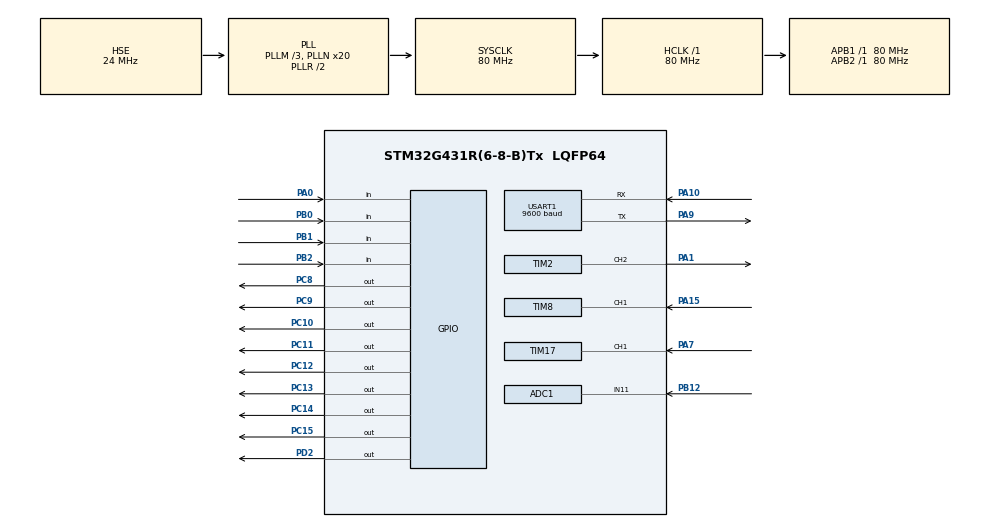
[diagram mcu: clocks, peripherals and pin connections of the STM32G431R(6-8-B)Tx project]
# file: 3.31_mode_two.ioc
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ADC1.Channel-0\#ChannelRegularConversion=ADC_CHANNEL_11
ADC1.NbrOfConversionFlag=1
ADC1.OffsetNumber-0\#ChannelRegularConversion=ADC_OFFSET_NONE
ADC1.Rank-0\#ChannelRegularConversion=1
ADC1.SamplingTime-0\#ChannelRegularConversion=ADC_SAMPLETIME_2CYCLES_5
ADC1.master=1
Mcu.Family=STM32G4
Mcu.Name=STM32G431R(6-8-B)Tx
Mcu.Package=LQFP64
NVIC.PriorityGroup=NVIC_PRIORITYGROUP_4
NVIC.TIM1_TRG_COM_TIM17_IRQn=true\:0\:0\:false\:false\:true\:true\:true\:true
NVIC.TIM1_UP_TIM16_IRQn=true\:0\:0\:false\:false\:true\:true\:true\:true
NVIC.TIM8_CC_IRQn=true\:0\:0\:false\:false\:true\:true\:true\:true
NVIC.USART1_IRQn=true\:0\:0\:false\:false\:true\:true\:true\:true
PA0.GPIO_Mode=GPIO_MODE_INPUT
PA0.GPIO_PuPd=GPIO_NOPULL
PA0.Signal=GPIO_Input
PA1.Signal=S_TIM2_CH2
PA10.Mode=Asynchronous
PA10.Signal=USART1_RX
PA13.Mode=Serial_Wire
PA13.Signal=SYS_JTMS-SWDIO
PA14.Mode=Serial_Wire
PA14.Signal=SYS_JTCK-SWCLK
PA15.Signal=S_TIM8_CH1
PA7.Signal=S_TIM17_CH1
PA9.Mode=Asynchronous
PA9.Signal=USART1_TX
PB0.GPIO_Mode=GPIO_MODE_INPUT
PB0.GPIO_PuPd=GPIO_NOPULL
PB0.Signal=GPIO_Input
PB1.GPIO_Mode=GPIO_MODE_INPUT
PB1.GPIO_PuPd=GPIO_NOPULL
PB1.Signal=GPIO_Input
PB12.Mode=IN11-Single-Ended
PB12.Signal=ADC1_IN11
PB2.GPIO_Mode=GPIO_MODE_INPUT
PB2.GPIO_PuPd=GPIO_NOPULL
PB2.Signal=GPIO_Input
PC10.GPIO_ModeDefaultOutputPP=GPIO_MODE_OUTPUT_PP
PC10.GPIO_PuPd=GPIO_NOPULL
PC10.PinState=GPIO_PIN_SET
PC10.Signal=GPIO_Output
PC11.GPIO_ModeDefaultOutputPP=GPIO_MODE_OUTPUT_PP
PC11.GPIO_PuPd=GPIO_NOPULL
PC11.PinState=GPIO_PIN_SET
PC11.Signal=GPIO_Output
PC12.GPIO_ModeDefaultOutputPP=GPIO_MODE_OUTPUT_PP
PC12.GPIO_PuPd=GPIO_NOPULL
PC12.PinState=GPIO_PIN_SET
PC12.Signal=GPIO_Output
PC13.GPIO_ModeDefaultOutputPP=GPIO_MODE_OUTPUT_PP
PC13.GPIO_PuPd=GPIO_NOPULL
PC13.PinState=GPIO_PIN_SET
PC13.Signal=GPIO_Output
PC14-OSC32_IN.GPIO_ModeDefaultOutputPP=GPIO_MODE_OUTPUT_PP
PC14-OSC32_IN.GPIO_PuPd=GPIO_NOPULL
PC14-OSC32_IN.PinState=GPIO_PIN_SET
PC14-OSC32_IN.Signal=GPIO_Output
PC15-OSC32_OUT.GPIO_ModeDefaultOutputPP=GPIO_MODE_OUTPUT_PP
PC15-OSC32_OUT.GPIO_PuPd=GPIO_NOPULL
PC15-OSC32_OUT.PinState=GPIO_PIN_SET
PC15-OSC32_OUT.Signal=GPIO_Output
PC8.GPIO_ModeDefaultOutputPP=GPIO_MODE_OUTPUT_PP
PC8.GPIO_PuPd=GPIO_NOPULL
PC8.PinState=GPIO_PIN_SET
PC8.Signal=GPIO_Output
PC9.GPIO_ModeDefaultOutputPP=GPIO_MODE_OUTPUT_PP
PC9.GPIO_PuPd=GPIO_NOPULL
PC9.PinState=GPIO_PIN_SET
PC9.Signal=GPIO_Output
PD2.GPIO_ModeDefaultOutputPP=GPIO_MODE_OUTPUT_PP
PD2.GPIO_PuPd=GPIO_NOPULL
PD2.PinState=GPIO_PIN_SET
PD2.Signal=GPIO_Output
PF0-OSC_IN.Mode=HSE-External-Oscillator
PF0-OSC_IN.Signal=RCC_OSC_IN
PF1-OSC_OUT.Mode=HSE-External-Oscillator
PF1-OSC_OUT.Signal=RCC_OSC_OUT
ProjectManager.HeapSize=0x200
ProjectManager.StackSize=0x400
ProjectManager.TargetToolchain=MDK-ARM V5.32
RCC.ADC12Freq_Value=80000000
RCC.AHBFreq_Value=80000000
RCC.APB1Freq_Value=80000000
RCC.APB1TimFreq_Value=80000000
RCC.APB2Freq_Value=80000000
RCC.APB2TimFreq_Value=80000000
RCC.CortexFreq_Value=80000000
RCC.EXTERNAL_CLOCK_VALUE=12288000
RCC.HCLKFreq_Value=80000000
RCC.HSE_VALUE=24000000
RCC.HSI48_VALUE=48000000
RCC.HSI_VALUE=16000000
RCC.LSE_VALUE=32768
RCC.PLLM=RCC_PLLM_DIV3
RCC.PLLN=20
RCC.PLLSourceVirtual=RCC_PLLSOURCE_HSE
RCC.SYSCLKFreq_VALUE=80000000
RCC.SYSCLKSource=RCC_SYSCLKSOURCE_PLLCLK
RCC.USBFreq_Value=80000000
RCC.VCOOutputFreq_Value=160000000
SH.S_TIM17_CH1.0=TIM17_CH1,Input_Capture1_from_TI1
SH.S_TIM2_CH2.0=TIM2_CH2,PWM Generation2 CH2
SH.S_TIM8_CH1.0=TIM8_CH1,Input_Capture1_from_TI1
TIM1.PeriodNoDither=1000-1
TIM1.Prescaler=80-1
TIM17.Channel=TIM_CHANNEL_1
TIM17.Prescaler=80-1
TIM2.Channel-PWM\ Generation2\ CH2=TIM_CHANNEL_2
TIM2.PeriodNoDither=100-1
TIM2.Prescaler=800-1
TIM4.Prescaler=8000-1
TIM8.Channel-Input_Capture1_from_TI1=TIM_CHANNEL_1
TIM8.Prescaler=80-1
USART1.BaudRate=9600
USART1.VirtualMode-Asynchronous=VM_ASYNC
VP_SYS_VS_DBSignals.Mode=DisableDeadBatterySignals
VP_TIM17_VS_ClockSourceINT.Mode=Enable_Timer
VP_TIM1_VS_ClockSourceINT.Mode=Internal
VP_TIM4_VS_ClockSourceINT.Mode=Internal
board=custom

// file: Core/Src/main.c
/* USER CODE BEGIN Header */
/**
  ******************************************************************************
  * @file           : main.c
  * @brief          : Main program body
  ******************************************************************************
  * @attention
  *
  * Copyright (c) 2026 STMicroelectronics.
  * All rights reserved.
  *
  * This software is licensed under terms that can be found in the LICENSE file
  * in the root directory of this software component.
  * If no LICENSE file comes with this software, it is provided AS-IS.
  *
  ******************************************************************************
  */
/* USER CODE END Header */
#include "main.h"
#include "adc.h"
#include "tim.h"
#include "usart.h"
#include "gpio.h"

/* USER CODE BEGIN Includes */
#include "headfile.h"
/* USER CODE END Includes */

/* USER CODE BEGIN PV */
uint8_t a;
/* USER CODE END PV */

void SystemClock_Config(void);

int main(void)
{

  /* MCU Configuration--------------------------------------------------------*/

  /* Reset of all peripherals, Initializes the Flash interface and the Systick. */
  HAL_Init();

  /* Configure the system clock */
  SystemClock_Config();

  /* Initialize all configured peripherals */
  MX_GPIO_Init();
  MX_TIM1_Init();
  MX_TIM2_Init();
  MX_TIM17_Init();
  MX_TIM8_Init();
  MX_ADC1_Init();
  MX_USART1_UART_Init();
  MX_TIM4_Init();
  /* USER CODE BEGIN 2 */
HAL_TIM_Base_Start_IT(&htim1);
HAL_TIM_PWM_Start(&htim2,TIM_CHANNEL_2);
TIM2->CCR2=50;
HAL_TIM_Base_Start(&htim4);
HAL_TIM_IC_Start_IT(&htim17,TIM_CHANNEL_1);
HAL_TIM_IC_Start_IT(&htim8,TIM_CHANNEL_1);

HAL_UART_Receive_IT(&huart1,&rec_data,1);

HAL_GPIO_WritePin(GPIOD,GPIO_PIN_2,GPIO_PIN_RESET);

LCD_Init();
LCD_Clear(Black);
LCD_SetBackColor(Black);
LCD_SetTextColor(White);

I2CInit();

eeprom_write(3, 19);

a = eeprom_read(3);
  /* USER CODE END 2 */

  /* Infinite loop */
  /* USER CODE BEGIN WHILE */
  while (1)
  {
//	  show_led(8,led8state);
	  show_lcd();

//	  char text01[20];
//	  sprintf(text01,"lanqiaobei\r\n");
//
//	  HAL_UART_Transmit(&huart1,(uint8_t *)text01,strlen(text01),50);
//	  HAL_Delay(1000);

	  uart_rec();
	  if(key_short)
	  {
		switch(key_short)
		{
			case 1:{count++;}break;
			case 2:{highlignt=(highlignt+1)%3;}break;
		}key_short=0;
	  }
	  if(key_long)
	  {
		switch(key_long)
		{
			case 1:{count--;}break;
			case 2:{highlignt=(highlignt+3-1)%3;}break;//(current + max - 1) \% max
		}key_long=0;
	  }

    /* USER CODE END WHILE */

  }
}

void SystemClock_Config(void)
{
  RCC_OscInitTypeDef RCC_OscInitStruct = {0};
  RCC_ClkInitTypeDef RCC_ClkInitStruct = {0};

  /** Configure the main internal regulator output voltage
  */
  HAL_PWREx_ControlVoltageScaling(PWR_REGULATOR_VOLTAGE_SCALE1);

  /** Initializes the RCC Oscillators according to the specified parameters
  * in the RCC_OscInitTypeDef structure.
  */
  RCC_OscInitStruct.OscillatorType = RCC_OSCILLATORTYPE_HSE;
  RCC_OscInitStruct.HSEState = RCC_HSE_ON;
  RCC_OscInitStruct.PLL.PLLState = RCC_PLL_ON;
  RCC_OscInitStruct.PLL.PLLSource = RCC_PLLSOURCE_HSE;
  RCC_OscInitStruct.PLL.PLLM = RCC_PLLM_DIV3;
  RCC_OscInitStruct.PLL.PLLN = 20;
  RCC_OscInitStruct.PLL.PLLP = RCC_PLLP_DIV2;
  RCC_OscInitStruct.PLL.PLLQ = RCC_PLLQ_DIV2;
  RCC_OscInitStruct.PLL.PLLR = RCC_PLLR_DIV2;
  if (HAL_RCC_OscConfig(&RCC_OscInitStruct) != HAL_OK)
  {
    Error_Handler();
  }

  /** Initializes the CPU, AHB and APB buses clocks
  */
  RCC_ClkInitStruct.ClockType = RCC_CLOCKTYPE_HCLK|RCC_CLOCKTYPE_SYSCLK
                              |RCC_CLOCKTYPE_PCLK1|RCC_CLOCKTYPE_PCLK2;
  RCC_ClkInitStruct.SYSCLKSource = RCC_SYSCLKSOURCE_PLLCLK;
  RCC_ClkInitStruct.AHBCLKDivider = RCC_SYSCLK_DIV1;
  RCC_ClkInitStruct.APB1CLKDivider = RCC_HCLK_DIV1;
  RCC_ClkInitStruct.APB2CLKDivider = RCC_HCLK_DIV1;

  if (HAL_RCC_ClockConfig(&RCC_ClkInitStruct, FLASH_LATENCY_2) != HAL_OK)
  {
    Error_Handler();
  }
}

void Error_Handler(void)
{
  __disable_irq();
  while (1)
  {
  }
}
